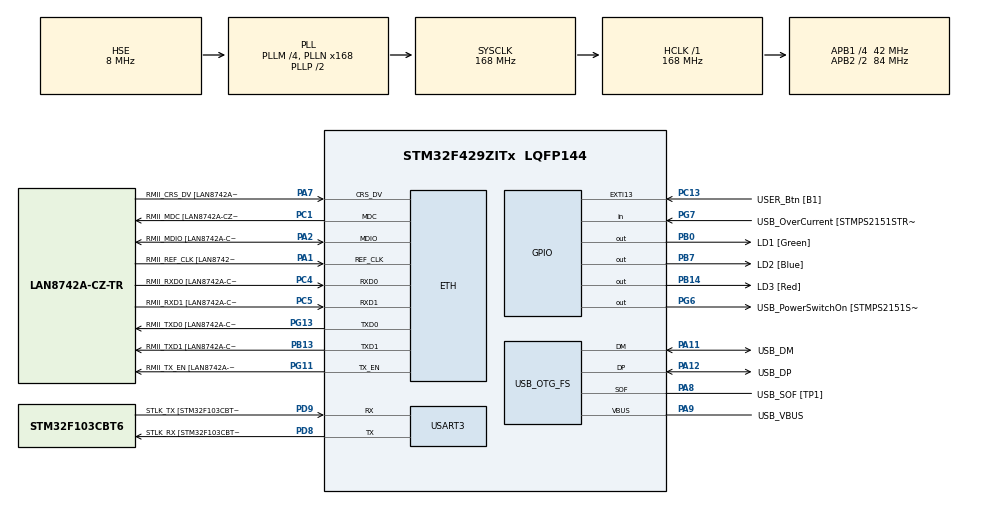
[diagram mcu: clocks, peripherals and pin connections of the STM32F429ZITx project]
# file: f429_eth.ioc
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Dma.Request0=USART3_RX
Dma.USART3_RX.0.Direction=DMA_PERIPH_TO_MEMORY
Dma.USART3_RX.0.FIFOMode=DMA_FIFOMODE_DISABLE
Dma.USART3_RX.0.Instance=DMA1_Stream1
Dma.USART3_RX.0.MemDataAlignment=DMA_MDATAALIGN_BYTE
Dma.USART3_RX.0.MemInc=DMA_MINC_ENABLE
Dma.USART3_RX.0.Mode=DMA_CIRCULAR
Dma.USART3_RX.0.PeriphDataAlignment=DMA_PDATAALIGN_BYTE
Dma.USART3_RX.0.PeriphInc=DMA_PINC_DISABLE
Dma.USART3_RX.0.Priority=DMA_PRIORITY_LOW
ETH.MediaInterface=HAL_ETH_RMII_MODE
ETH.PHY_Name=LAN8742A_PHY_ADDRESS
ETH.PHY_Value=0
ETH.PhyAddress=0
FREERTOS.Tasks01=defaultTask,0,1024,StartDefaultTask,Default,NULL,Dynamic,NULL,NULL;SerialTask,-3,128,StartSerialTask,Default,NULL,Dynamic,NULL,NULL
FREERTOS.configTOTAL_HEAP_SIZE=32768
FREERTOS.configUSE_NEWLIB_REENTRANT=1
LWIP.BSP.number=1
LWIP.IP_ADDRESS=169.254.001.001
LWIP.LWIP_DHCP=0
LWIP.NETMASK_ADDRESS=255.255.000.000
LWIP.Version=v2.1.2_Cube
LWIP0.BSP.STBoard=false
LWIP0.BSP.api=BSP_COMPONENT_DRIVER
LWIP0.BSP.component=LAN8742
LWIP0.BSP.instance=LAN8742
LWIP0.BSP.name=Driver_PHY
LWIP0.BSP.semaphore=S_LAN8742
LWIP0.BSP.solution=LAN8742
Mcu.Family=STM32F4
Mcu.Name=STM32F429ZITx
Mcu.Package=LQFP144
NVIC.DMA1_Stream1_IRQn=true\:5\:0\:false\:false\:true\:true\:false\:true\:true
NVIC.ETH_IRQn=true\:5\:0\:false\:false\:true\:true\:false\:true\:true
NVIC.PriorityGroup=NVIC_PRIORITYGROUP_4
NVIC.TIM8_TRG_COM_TIM14_IRQn=true\:15\:0\:false\:false\:true\:false\:false\:true\:true
NVIC.TimeBase=TIM8_TRG_COM_TIM14_IRQn
NVIC.TimeBaseIP=TIM14
PA1.GPIO_Label=RMII_REF_CLK [LAN8742A-CZ-TR_REFCLK0]
PA1.Mode=RMII
PA1.Signal=ETH_REF_CLK
PA10.GPIO_Label=USB_ID
PA10.Signal=USB_OTG_FS_ID
PA11.GPIO_Label=USB_DM
PA11.Mode=Device_Only
PA11.Signal=USB_OTG_FS_DM
PA12.GPIO_Label=USB_DP
PA12.Mode=Device_Only
PA12.Signal=USB_OTG_FS_DP
PA13.GPIO_Label=TMS
PA13.Mode=Serial_Wire
PA13.Signal=SYS_JTMS-SWDIO
PA14.GPIO_Label=TCK
PA14.Mode=Serial_Wire
PA14.Signal=SYS_JTCK-SWCLK
PA2.GPIO_Label=RMII_MDIO [LAN8742A-CZ-TR_MDIO]
PA2.Mode=RMII
PA2.Signal=ETH_MDIO
PA7.GPIO_Label=RMII_CRS_DV [LAN8742A-CZ-TR_CRS_DV]
PA7.Mode=RMII
PA7.Signal=ETH_CRS_DV
PA8.GPIO_Label=USB_SOF [TP1]
PA8.Mode=Activate_SOF_FS
PA8.Signal=USB_OTG_FS_SOF
PA9.GPIO_Label=USB_VBUS
PA9.Mode=Activate_VBUS
PA9.Signal=USB_OTG_FS_VBUS
PB0.GPIO_Label=LD1 [Green]
PB0.Signal=GPIO_Output
PB13.GPIO_Label=RMII_TXD1 [LAN8742A-CZ-TR_TXD1]
PB13.Mode=RMII
PB13.Signal=ETH_TXD1
PB14.GPIO_Label=LD3 [Red]
PB14.Signal=GPIO_Output
PB7.GPIO_Label=LD2 [Blue]
PB7.Signal=GPIO_Output
PC1.GPIO_Label=RMII_MDC [LAN8742A-CZ-TR_MDC]
PC1.Mode=RMII
PC1.Signal=ETH_MDC
PC13.GPIO_Label=USER_Btn [B1]
PC13.Signal=GPXTI13
PC14/OSC32_IN.Mode=LSE-External-Oscillator
PC14/OSC32_IN.Signal=RCC_OSC32_IN
PC15/OSC32_OUT.Mode=LSE-External-Oscillator
PC15/OSC32_OUT.Signal=RCC_OSC32_OUT
PC4.GPIO_Label=RMII_RXD0 [LAN8742A-CZ-TR_RXD0]
PC4.Mode=RMII
PC4.Signal=ETH_RXD0
PC5.GPIO_Label=RMII_RXD1 [LAN8742A-CZ-TR_RXD1]
PC5.Mode=RMII
PC5.Signal=ETH_RXD1
PD8.GPIO_Label=STLK_RX [STM32F103CBT6_PA3]
PD8.Mode=Asynchronous
PD8.Signal=USART3_TX
PD9.GPIO_Label=STLK_TX [STM32F103CBT6_PA2]
PD9.Mode=Asynchronous
PD9.Signal=USART3_RX
PG11.GPIO_Label=RMII_TX_EN [LAN8742A-CZ-TR_TXEN]
PG11.Mode=RMII
PG11.Signal=ETH_TX_EN
PG13.GPIO_Label=RMII_TXD0 [LAN8742A-CZ-TR_TXD0]
PG13.Mode=RMII
PG13.Signal=ETH_TXD0
PG6.GPIO_Label=USB_PowerSwitchOn [STMPS2151STR_EN]
PG6.Signal=GPIO_Output
PG7.GPIO_Label=USB_OverCurrent [STMPS2151STR_FAULT]
PG7.Signal=GPIO_Input
PH0/OSC_IN.GPIO_Label=MCO [STM32F103CBT6_PA8]
PH0/OSC_IN.Mode=HSE-External-Clock-Source
PH0/OSC_IN.Signal=RCC_OSC_IN
PH1/OSC_OUT.Mode=HSE-External-Clock-Source
PH1/OSC_OUT.Signal=RCC_OSC_OUT
ProjectManager.HeapSize=0x200
ProjectManager.StackSize=0x400
ProjectManager.TargetToolchain=STM32CubeIDE
RCC.48MHZClocksFreq_Value=48000000
RCC.AHBFreq_Value=168000000
RCC.APB1CLKDivider=RCC_HCLK_DIV4
RCC.APB1Freq_Value=42000000
RCC.APB1TimFreq_Value=84000000
RCC.APB2CLKDivider=RCC_HCLK_DIV2
RCC.APB2Freq_Value=84000000
RCC.APB2TimCLKDivider=2
RCC.APB2TimFreq_Value=168000000
RCC.CortexFreq_Value=168000000
RCC.HCLKFreq_Value=168000000
RCC.HSE_VALUE=8000000
RCC.HSI_VALUE=16000000
RCC.PLLM=4
RCC.PLLMUL=RCC_PLL_MUL9
RCC.PLLN=168
RCC.PLLQ=7
RCC.PRESCALERUSB=RCC_USBCLKSOURCE_PLL_DIV1_5
RCC.SYSCLKFreq_VALUE=168000000
RCC.SYSCLKSource=RCC_SYSCLKSOURCE_PLLCLK
RCC.SYSCLKSourceVirtual=RCC_SYSCLKSOURCE_PLLCLK
RCC.USBFreq_Value=48000000
RCC.VCOOutputFreq_Value=336000000
USART3.VirtualMode=VM_ASYNC
USB_OTG_FS.VirtualMode=Device_Only
VP_FREERTOS_VS_CMSIS_V1.Mode=CMSIS_V1
VP_LWIP_VS_Enabled.Mode=Enabled
VP_SYS_VS_tim14.Mode=TIM14
board=NUCLEO-F429ZI

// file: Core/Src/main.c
/* USER CODE BEGIN Header */
/**
  ******************************************************************************
  * @file           : main.c
  * @brief          : Main program body
  ******************************************************************************
  * @attention
  *
  * Copyright (c) 2023 STMicroelectronics.
  * All rights reserved.
  *
  * This software is licensed under terms that can be found in the LICENSE file
  * in the root directory of this software component.
  * If no LICENSE file comes with this software, it is provided AS-IS.
  *
  ******************************************************************************
  */
/* USER CODE END Header */
#include "main.h"
#include "cmsis_os.h"
#include "lwip.h"

/* USER CODE BEGIN Includes */

#include <stdio.h>
#include <string.h>
#include <stdbool.h>
#include "lwip/apps/httpd.h"

/* USER CODE END Includes */

UART_HandleTypeDef huart3;
DMA_HandleTypeDef hdma_usart3_rx;

PCD_HandleTypeDef hpcd_USB_OTG_FS;

osThreadId defaultTaskHandle;
osThreadId SerialTaskHandle;
/* USER CODE BEGIN PV */

#define RX_BUFFER_LEN 64
#define CMD_BUFFER_LEN 256
static uint8_t uart_rx_buf[RX_BUFFER_LEN];
static volatile uint16_t uart_rx_read_ptr = 0;
#define uart_rx_write_ptr (RX_BUFFER_LEN - hdma_usart3_rx.Instance->NDTR)

/* USER CODE END PV */

void SystemClock_Config(void);
static void MX_GPIO_Init(void);
static void MX_DMA_Init(void);
static void MX_USART3_UART_Init(void);
static void MX_USB_OTG_FS_PCD_Init(void);
void StartDefaultTask(void const * argument);
void StartSerialTask(void const * argument);

/* USER CODE BEGIN PFP */

void tcpecho_init(void);

/* USER CODE END PFP */

/* USER CODE BEGIN 0 */

void process_command(char *cmd, char *resp)
{
	char *token;
	token = strtok(cmd, " ");

	if (strcasecmp(token, "HELLO") == 0) {
	    sprintf(resp, "Komunikace OK\n");
	}
	else if (strcasecmp(token, "LED1") == 0) {
	    token = strtok(NULL, " ");
	    if (strcasecmp(token, "ON") == 0) HAL_GPIO_WritePin(LD1_GPIO_Port, LD1_Pin, GPIO_PIN_SET);
	    else if (strcasecmp(token, "OFF") == 0) HAL_GPIO_WritePin(LD1_GPIO_Port, LD1_Pin, GPIO_PIN_RESET);
	    sprintf(resp, "OK\n");
	}
	else if (strcasecmp(token, "LED2") == 0) {
	    token = strtok(NULL, " ");
	    if (strcasecmp(token, "ON") == 0) HAL_GPIO_WritePin(LD2_GPIO_Port, LD2_Pin, GPIO_PIN_SET);
	    else if (strcasecmp(token, "OFF") == 0) HAL_GPIO_WritePin(LD2_GPIO_Port, LD2_Pin, GPIO_PIN_RESET);
	    sprintf(resp, "OK\n");
	}
	else if (strcasecmp(token, "LED3") == 0) {
	    token = strtok(NULL, " ");
	    if (strcasecmp(token, "ON") == 0) HAL_GPIO_WritePin(LD3_GPIO_Port, LD3_Pin, GPIO_PIN_SET);
	    else if (strcasecmp(token, "OFF") == 0) HAL_GPIO_WritePin(LD3_GPIO_Port, LD3_Pin, GPIO_PIN_RESET);
	    sprintf(resp, "OK\n");
	}
	else if (strcasecmp(token, "STATUS") == 0) {
	    bool ld1 = HAL_GPIO_ReadPin(LD1_GPIO_Port, LD1_Pin);
	    bool ld2 = HAL_GPIO_ReadPin(LD2_GPIO_Port, LD2_Pin);
	    bool ld3 = HAL_GPIO_ReadPin(LD3_GPIO_Port, LD3_Pin);

	    sprintf(resp, "Stav LED1=%s, LED2=%s, LED3=%s\n", ld1?"on":"off", ld2?"on":"off", ld3?"on":"off");
	}
	else {
	    sprintf(resp, "Neznamy prikaz\n");
	}
}

static void uart_byte_available(uint8_t c)
{
    static uint16_t cnt;
    static char data[CMD_BUFFER_LEN], resp[CMD_BUFFER_LEN];

    if (cnt < CMD_BUFFER_LEN && c >= 32 && c <= 126) data[cnt++] = c;
    if ((c == '\n' || c == '\r') && cnt > 0) {
        data[cnt] = '\0';
        process_command(data, resp);
        HAL_UART_Transmit(&huart3, (uint8_t*)(resp), strlen(resp), HAL_MAX_DELAY);
        cnt = 0;
    }
}

/* USER CODE END 0 */

int main(void)
{

  /* MCU Configuration--------------------------------------------------------*/

  /* Reset of all peripherals, Initializes the Flash interface and the Systick. */
  HAL_Init();

  /* Configure the system clock */
  SystemClock_Config();

  /* Initialize all configured peripherals */
  MX_GPIO_Init();
  MX_DMA_Init();
  MX_USART3_UART_Init();
  MX_USB_OTG_FS_PCD_Init();

  /* Create the thread(s) */
  /* definition and creation of defaultTask */
  osThreadDef(defaultTask, StartDefaultTask, osPriorityNormal, 0, 1024);
  defaultTaskHandle = osThreadCreate(osThread(defaultTask), NULL);

  /* definition and creation of SerialTask */
  osThreadDef(SerialTask, StartSerialTask, osPriorityIdle, 0, 128);
  SerialTaskHandle = osThreadCreate(osThread(SerialTask), NULL);

  /* Start scheduler */
  osKernelStart();

  /* We should never get here as control is now taken by the scheduler */
  /* Infinite loop */
  while (1)
  {

  }
}

void SystemClock_Config(void)
{
  RCC_OscInitTypeDef RCC_OscInitStruct = {0};
  RCC_ClkInitTypeDef RCC_ClkInitStruct = {0};

  /** Configure the main internal regulator output voltage
  */
  __HAL_RCC_PWR_CLK_ENABLE();
  __HAL_PWR_VOLTAGESCALING_CONFIG(PWR_REGULATOR_VOLTAGE_SCALE1);

  /** Initializes the RCC Oscillators according to the specified parameters
  * in the RCC_OscInitTypeDef structure.
  */
  RCC_OscInitStruct.OscillatorType = RCC_OSCILLATORTYPE_HSE;
  RCC_OscInitStruct.HSEState = RCC_HSE_BYPASS;
  RCC_OscInitStruct.PLL.PLLState = RCC_PLL_ON;
  RCC_OscInitStruct.PLL.PLLSource = RCC_PLLSOURCE_HSE;
  RCC_OscInitStruct.PLL.PLLM = 4;
  RCC_OscInitStruct.PLL.PLLN = 168;
  RCC_OscInitStruct.PLL.PLLP = RCC_PLLP_DIV2;
  RCC_OscInitStruct.PLL.PLLQ = 7;
  if (HAL_RCC_OscConfig(&RCC_OscInitStruct) != HAL_OK)
  {
    Error_Handler();
  }

  /** Initializes the CPU, AHB and APB buses clocks
  */
  RCC_ClkInitStruct.ClockType = RCC_CLOCKTYPE_HCLK|RCC_CLOCKTYPE_SYSCLK
                              |RCC_CLOCKTYPE_PCLK1|RCC_CLOCKTYPE_PCLK2;
  RCC_ClkInitStruct.SYSCLKSource = RCC_SYSCLKSOURCE_PLLCLK;
  RCC_ClkInitStruct.AHBCLKDivider = RCC_SYSCLK_DIV1;
  RCC_ClkInitStruct.APB1CLKDivider = RCC_HCLK_DIV4;
  RCC_ClkInitStruct.APB2CLKDivider = RCC_HCLK_DIV2;

  if (HAL_RCC_ClockConfig(&RCC_ClkInitStruct, FLASH_LATENCY_5) != HAL_OK)
  {
    Error_Handler();
  }
}

static void MX_USART3_UART_Init(void)
{

  huart3.Instance = USART3;
  huart3.Init.BaudRate = 115200;
  huart3.Init.WordLength = UART_WORDLENGTH_8B;
  huart3.Init.StopBits = UART_STOPBITS_1;
  huart3.Init.Parity = UART_PARITY_NONE;
  huart3.Init.Mode = UART_MODE_TX_RX;
  huart3.Init.HwFlowCtl = UART_HWCONTROL_NONE;
  huart3.Init.OverSampling = UART_OVERSAMPLING_16;
  if (HAL_UART_Init(&huart3) != HAL_OK)
  {
    Error_Handler();
  }

}

static void MX_USB_OTG_FS_PCD_Init(void)
{

  hpcd_USB_OTG_FS.Instance = USB_OTG_FS;
  hpcd_USB_OTG_FS.Init.dev_endpoints = 4;
  hpcd_USB_OTG_FS.Init.speed = PCD_SPEED_FULL;
  hpcd_USB_OTG_FS.Init.dma_enable = DISABLE;
  hpcd_USB_OTG_FS.Init.phy_itface = PCD_PHY_EMBEDDED;
  hpcd_USB_OTG_FS.Init.Sof_enable = ENABLE;
  hpcd_USB_OTG_FS.Init.low_power_enable = DISABLE;
  hpcd_USB_OTG_FS.Init.lpm_enable = DISABLE;
  hpcd_USB_OTG_FS.Init.vbus_sensing_enable = ENABLE;
  hpcd_USB_OTG_FS.Init.use_dedicated_ep1 = DISABLE;
  if (HAL_PCD_Init(&hpcd_USB_OTG_FS) != HAL_OK)
  {
    Error_Handler();
  }

}

static void MX_DMA_Init(void)
{

  /* DMA controller clock enable */
  __HAL_RCC_DMA1_CLK_ENABLE();

  /* DMA interrupt init */
  /* DMA1_Stream1_IRQn interrupt configuration */
  HAL_NVIC_SetPriority(DMA1_Stream1_IRQn, 5, 0);
  HAL_NVIC_EnableIRQ(DMA1_Stream1_IRQn);

}

static void MX_GPIO_Init(void)
{
  GPIO_InitTypeDef GPIO_InitStruct = {0};

  /* GPIO Ports Clock Enable */
  __HAL_RCC_GPIOC_CLK_ENABLE();
  __HAL_RCC_GPIOH_CLK_ENABLE();
  __HAL_RCC_GPIOA_CLK_ENABLE();
  __HAL_RCC_GPIOB_CLK_ENABLE();
  __HAL_RCC_GPIOD_CLK_ENABLE();
  __HAL_RCC_GPIOG_CLK_ENABLE();

  /*Configure GPIO pin Output Level */
  HAL_GPIO_WritePin(GPIOB, LD1_Pin|LD3_Pin|LD2_Pin, GPIO_PIN_RESET);

  /*Configure GPIO pin Output Level */
  HAL_GPIO_WritePin(USB_PowerSwitchOn_GPIO_Port, USB_PowerSwitchOn_Pin, GPIO_PIN_RESET);

  /*Configure GPIO pin : USER_Btn_Pin */
  GPIO_InitStruct.Pin = USER_Btn_Pin;
  GPIO_InitStruct.Mode = GPIO_MODE_IT_RISING;
  GPIO_InitStruct.Pull = GPIO_NOPULL;
  HAL_GPIO_Init(USER_Btn_GPIO_Port, &GPIO_InitStruct);

  /*Configure GPIO pins : LD1_Pin LD3_Pin LD2_Pin */
  GPIO_InitStruct.Pin = LD1_Pin|LD3_Pin|LD2_Pin;
  GPIO_InitStruct.Mode = GPIO_MODE_OUTPUT_PP;
  GPIO_InitStruct.Pull = GPIO_NOPULL;
  GPIO_InitStruct.Speed = GPIO_SPEED_FREQ_LOW;
  HAL_GPIO_Init(GPIOB, &GPIO_InitStruct);

  /*Configure GPIO pin : USB_PowerSwitchOn_Pin */
  GPIO_InitStruct.Pin = USB_PowerSwitchOn_Pin;
  GPIO_InitStruct.Mode = GPIO_MODE_OUTPUT_PP;
  GPIO_InitStruct.Pull = GPIO_NOPULL;
  GPIO_InitStruct.Speed = GPIO_SPEED_FREQ_LOW;
  HAL_GPIO_Init(USB_PowerSwitchOn_GPIO_Port, &GPIO_InitStruct);

  /*Configure GPIO pin : USB_OverCurrent_Pin */
  GPIO_InitStruct.Pin = USB_OverCurrent_Pin;
  GPIO_InitStruct.Mode = GPIO_MODE_INPUT;
  GPIO_InitStruct.Pull = GPIO_NOPULL;
  HAL_GPIO_Init(USB_OverCurrent_GPIO_Port, &GPIO_InitStruct);

}

void StartDefaultTask(void const * argument)
{
  /* init code for LWIP */
  MX_LWIP_Init();
  /* USER CODE BEGIN 5 */

  /* Initialize tcp echo server */
  tcpecho_init();

  /* Initialize HTTP server */
  httpd_init();

  /* Infinite loop */
  for(;;)
  {
    osDelay(1);
  }
  /* USER CODE END 5 */
}

void StartSerialTask(void const * argument)
{
  /* USER CODE BEGIN StartSerialTask */
  HAL_UART_Receive_DMA(&huart3, uart_rx_buf, RX_BUFFER_LEN);

  /* Infinite loop */
  for(;;)
  {
	while (uart_rx_read_ptr != uart_rx_write_ptr) {
	    uint8_t b = uart_rx_buf[uart_rx_read_ptr];
	    if (++uart_rx_read_ptr >= RX_BUFFER_LEN) uart_rx_read_ptr = 0; // increase read pointer
	    uart_byte_available(b); // process received byte with the RX state machine
	}
    osDelay(1);
  }
  /* USER CODE END StartSerialTask */
}

void HAL_TIM_PeriodElapsedCallback(TIM_HandleTypeDef *htim)
{
  if (htim->Instance == TIM14) {
    HAL_IncTick();
  }
}

void Error_Handler(void)
{
  __disable_irq();
  while (1)
  {
  }
}
